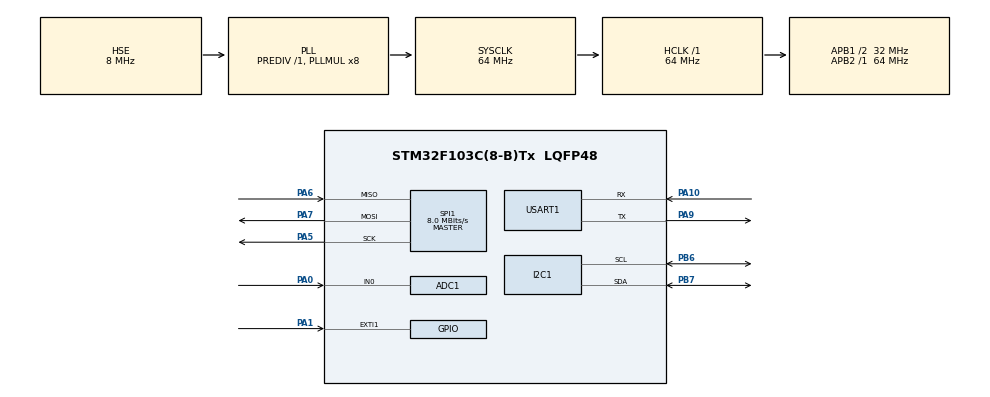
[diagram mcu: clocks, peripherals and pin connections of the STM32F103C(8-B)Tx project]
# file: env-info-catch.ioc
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ADC1.Channel-0\#ChannelRegularConversion=ADC_CHANNEL_0
ADC1.NbrOfConversionFlag=1
ADC1.Rank-0\#ChannelRegularConversion=1
ADC1.SamplingTime-0\#ChannelRegularConversion=ADC_SAMPLETIME_1CYCLE_5
ADC1.master=1
Mcu.Family=STM32F1
Mcu.Name=STM32F103C(8-B)Tx
Mcu.Package=LQFP48
NVIC.EXTI1_IRQn=true\:0\:0\:false\:false\:true\:true\:true\:true
NVIC.PriorityGroup=NVIC_PRIORITYGROUP_4
PA0-WKUP.Signal=ADCx_IN0
PA1.GPIO_ModeDefaultEXTI=GPIO_MODE_IT_FALLING
PA1.GPIO_PuPd=GPIO_PULLUP
PA1.Signal=GPXTI1
PA10.Mode=Asynchronous
PA10.Signal=USART1_RX
PA13.Mode=Serial_Wire
PA13.Signal=SYS_JTMS-SWDIO
PA14.Mode=Serial_Wire
PA14.Signal=SYS_JTCK-SWCLK
PA4.Signal=SPI1_NSS
PA5.Mode=Full_Duplex_Master
PA5.Signal=SPI1_SCK
PA6.Mode=Full_Duplex_Master
PA6.Signal=SPI1_MISO
PA7.Mode=Full_Duplex_Master
PA7.Signal=SPI1_MOSI
PA9.Mode=Asynchronous
PA9.Signal=USART1_TX
PB6.Mode=I2C
PB6.Signal=I2C1_SCL
PB7.Mode=I2C
PB7.Signal=I2C1_SDA
PC14-OSC32_IN.Mode=LSE-External-Oscillator
PC14-OSC32_IN.Signal=RCC_OSC32_IN
PC15-OSC32_OUT.Mode=LSE-External-Oscillator
PC15-OSC32_OUT.Signal=RCC_OSC32_OUT
PD0-OSC_IN.Mode=HSE-External-Oscillator
PD0-OSC_IN.Signal=RCC_OSC_IN
PD1-OSC_OUT.Mode=HSE-External-Oscillator
PD1-OSC_OUT.Signal=RCC_OSC_OUT
ProjectManager.HeapSize=0x200
ProjectManager.StackSize=0x400
ProjectManager.TargetToolchain=MDK-ARM V5.32
RCC.ADCPresc=RCC_ADCPCLK2_DIV6
RCC.AHBFreq_Value=64000000
RCC.APB1CLKDivider=RCC_HCLK_DIV2
RCC.APB1Freq_Value=32000000
RCC.APB1TimFreq_Value=64000000
RCC.APB2Freq_Value=64000000
RCC.APB2TimFreq_Value=64000000
RCC.HCLKFreq_Value=64000000
RCC.PLLMUL=RCC_PLL_MUL8
RCC.PLLSourceVirtual=RCC_PLLSOURCE_HSE
RCC.RTCClockSelection=RCC_RTCCLKSOURCE_LSE
RCC.SYSCLKFreq_VALUE=64000000
RCC.SYSCLKSource=RCC_SYSCLKSOURCE_PLLCLK
RCC.USBFreq_Value=64000000
RTC.Date=4
RTC.Hours=23
RTC.Minutes=28
RTC.Month=RTC_MONTH_AUGUST
RTC.WeekDay=RTC_WEEKDAY_TUESDAY
RTC.Year=26
SH.ADCx_IN0.0=ADC1_IN0,IN0
SPI1.BaudRatePrescaler=SPI_BAUDRATEPRESCALER_8
SPI1.CalculateBaudRate=8.0 MBits/s
SPI1.Direction=SPI_DIRECTION_2LINES
SPI1.Mode=SPI_MODE_MASTER
SPI1.VirtualType=VM_MASTER
USART1.VirtualMode=VM_ASYNC
VP_RTC_VS_RTC_Activate.Mode=RTC_Enabled
VP_RTC_VS_RTC_Calendar.Mode=RTC_Calendar
board=custom

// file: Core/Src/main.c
/* USER CODE BEGIN Header */
/**
  ******************************************************************************
  * @file           : main.c
  * @brief          : Main program body
  ******************************************************************************
  * @attention
  *
  * Copyright (c) 2026 STMicroelectronics.
  * All rights reserved.
  *
  * This software is licensed under terms that can be found in the LICENSE file
  * in the root directory of this software component.
  * If no LICENSE file comes with this software, it is provided AS-IS.
  *
  ******************************************************************************
  */
/* USER CODE END Header */
#include "main.h"
/* USER CODE BEGIN Includes */
#include "Hardware/MQ135.h"
#include "Hardware/AHT20.h"
#include "Hardware/BMP280.h"
#include "Hardware/W25QXX.h"
#include "Hardware/OLED.h"
/* USER CODE END Includes */
ADC_HandleTypeDef hadc1;
I2C_HandleTypeDef hi2c1;
RTC_HandleTypeDef hrtc;
SPI_HandleTypeDef hspi1;
UART_HandleTypeDef huart1;
/* USER CODE BEGIN PV */
volatile uint8_t calib_flag = 0;  /* button calib request, set in EXTI ISR */
static uint32_t last_collect_tick = 0;  /* 非阻塞采集间隔�?�时 */
typedef struct{
  uint32_t timestamp;
  float co2_ppm;
  float co_ppm;
  float nh4_ppm;
  float alcohol_ppm;
  float toluene_ppm;
  float acetone_ppm;
  uint8_t air_quality;
  float temperature_aht;
  float humidity;
  float pressure;
  uint16_t checksum;
}Data_t;
Data_t current_data = {0};
uint8_t pre_flag = 0;
/* Flash 存储管理：使用�?�扇�? */
#define MAX_FLASH_SECTORS   2047        /* 数据�? 2047 扇区，最�? 1 扇区留作管理�? */
#define RECORDS_PER_SECTOR  (W25QXX_SECTOR_SIZE / sizeof(Data_t))
#define MAX_TOTAL_RECORDS   (MAX_FLASH_SECTORS * RECORDS_PER_SECTOR)
/* 存储管理区：�?后一�?扇区�?尾固定地�?（存 current_sector/records_in_sector�? */
#define FLASH_MGMT_ADDR      (MAX_FLASH_SECTORS * W25QXX_SECTOR_SIZE)  /* 专用管理扇区 */
uint32_t write_index = 0;               /* 全局写入索引�?0 ~ MAX_TOTAL_RECORDS-1�? */
uint32_t current_sector = 0;            /* 当前扇区�? */
uint32_t records_in_sector = 0;         /* 当前扇区已写入�?�录�? */
/* USER CODE END PV */
void SystemClock_Config(void);
static void MX_GPIO_Init(void);
static void MX_ADC1_Init(void);
static void MX_I2C1_Init(void);
static void MX_SPI1_Init(void);
static void MX_USART1_UART_Init(void);
static void MX_RTC_Init(void);
/* USER CODE BEGIN PFP */
void save_storage_state(void);
void restore_storage_state(void);
/* USER CODE END PFP `*/
/* USER CODE BEGIN 0 */
#include <stdio.h>
#include <string.h>
uint8_t collect_data(){
  char msg[130];
  float pressure_hpa = 1013.25f, temp_bmp = 25.0f, alt_m = 0;

  sprintf(msg, "Start collect...\r\n");
  HAL_UART_Transmit(&huart1, (uint8_t*)msg, strlen(msg), 100);

  current_data.timestamp = HAL_GetTick();

  /* 先�?�取 AHT20 温湿�? */
  sprintf(msg, "Read AHT20...\r\n");
  HAL_UART_Transmit(&huart1, (uint8_t*)msg, strlen(msg), 100);
  if(AHT20_Read_Data(&hi2c1, &current_data.temperature_aht, &current_data.humidity) == 0){
    sprintf(msg, "AHT20 Read Failed!\r\n");
    HAL_UART_Transmit(&huart1, (uint8_t*)msg, strlen(msg), 100);
    current_data.temperature_aht = 25.0f;
    current_data.humidity = 50.0f;
  } else {
    sprintf(msg, "AHT20 Done! T=%.1f, H=%.1f\r\n", current_data.temperature_aht, current_data.humidity);
    HAL_UART_Transmit(&huart1, (uint8_t*)msg, strlen(msg), 100);
  }

  /* 再�?�取 BMP280 气压 */
  sprintf(msg, "Read BMP280...\r\n");
  HAL_UART_Transmit(&huart1, (uint8_t*)msg, strlen(msg), 100);
  if(BMP280_GetData(&hi2c1, &pressure_hpa, &temp_bmp, &alt_m) == 0){
    sprintf(msg, "BMP280 Read Failed!\r\n");
    HAL_UART_Transmit(&huart1, (uint8_t*)msg, strlen(msg), 100);
    current_data.pressure = 1013.25f;
  } else {
    current_data.pressure = pressure_hpa;
    sprintf(msg, "BMP280 Done! P=%.1f\r\n", pressure_hpa);
    HAL_UART_Transmit(&huart1, (uint8_t*)msg, strlen(msg), 100);
  }

  /* 用实际环境参数更�? MQ135 补偿 */
  MQ135_SetEnvironment(current_data.temperature_aht, current_data.humidity, current_data.pressure);
  sprintf(msg, "MQ135 Env Updated: T=%.1f, H=%.1f, P=%.1f\r\n",
          current_data.temperature_aht, current_data.humidity, current_data.pressure);
  HAL_UART_Transmit(&huart1, (uint8_t*)msg, strlen(msg), 100);

  /* �?后�?�取 MQ135 (此时已使用实际环境参数补�?) */
  MQ135_Data_t mq135_data;
  sprintf(msg, "Read MQ135...\r\n");
  HAL_UART_Transmit(&huart1, (uint8_t*)msg, strlen(msg), 100);
  MQ135_GetData(&mq135_data);

  /* 打印 MQ135 详细调试信息 */
  sprintf(msg, "MQ135 DBG: ADC=%d, V=%.3fV, Rs=%.2fk, Rs/R0=%.3f\r\n",
          mq135_data.adc_value,
          mq135_data.voltage,
          mq135_data.rs,
          mq135_data.rs_ratio);
  HAL_UART_Transmit(&huart1, (uint8_t*)msg, strlen(msg), 100);

  current_data.co2_ppm = mq135_data.co2_ppm;
  current_data.co_ppm = mq135_data.co_ppm;
  current_data.nh4_ppm = mq135_data.nh4_ppm;
  current_data.alcohol_ppm = mq135_data.alcohol_ppm;
  current_data.toluene_ppm = mq135_data.toluene_ppm;
  current_data.acetone_ppm = mq135_data.acetone_ppm;
  current_data.air_quality = mq135_data.air_quality;

  /* 读取 RTC 实时时间 */
  RTC_TimeTypeDef sTime;
  RTC_DateTypeDef sDate;
  HAL_RTC_GetTime(&hrtc, &sTime, RTC_FORMAT_BIN);
  HAL_RTC_GetDate(&hrtc, &sDate, RTC_FORMAT_BIN);

  sprintf(msg, "RTC: 20%02d-%02d-%02d %02d:%02d:%02d\r\n",
          sDate.Year, sDate.Month, sDate.Date,
          sTime.Hours, sTime.Minutes, sTime.Seconds);
  HAL_UART_Transmit(&huart1, (uint8_t*)msg, strlen(msg), 100);

  /* 时间合理性�??�?: RTC �?初�?�化�? LSI 掉电复位�?, 用开机�?�数兜底 */
  if(sDate.Date == 0 || sDate.Month == 0 || (sTime.Hours > 23) || (sTime.Minutes > 59) || (sTime.Seconds > 59)){
    uint32_t boot_sec = HAL_GetTick() / 1000;
    sDate.Year = 0; sDate.Month = 1; sDate.Date = 1;
    sTime.Hours = (boot_sec / 3600) % 24;
    sTime.Minutes = (boot_sec / 60) % 60;
    sTime.Seconds = boot_sec % 60;
  }
  /* 打包时间戳：�?(6bit)+�?(4bit)+�?(5bit)+�?(5bit)+�?(6bit)+�?(6bit) = 32bit */
  current_data.timestamp = (uint32_t)(sDate.Year & 0x3F) << 26 | (uint32_t)(sDate.Month & 0x0F) << 22 |
                           (uint32_t)(sDate.Date & 0x1F) << 17 | (uint32_t)(sTime.Hours & 0x1F) << 12 |
                           (uint32_t)(sTime.Minutes & 0x3F) << 6 | (uint32_t)(sTime.Seconds & 0x3F);

  current_data.checksum = 0;
  sprintf(msg, "Collect Done! CO2=%.1f, CO=%.1f, NH4=%.1f, ALC=%.1f, TOL=%.1f, ACE=%.1f\r\n",
          current_data.co2_ppm, current_data.co_ppm, current_data.nh4_ppm,
          current_data.alcohol_ppm, current_data.toluene_ppm, current_data.acetone_ppm);
  HAL_UART_Transmit(&huart1, (uint8_t*)msg, strlen(msg), 100);
  return 1;
}
void save_data_flash(void){
  uint8_t *write_data = (uint8_t*)&current_data;
  uint32_t data_add = current_sector * W25QXX_SECTOR_SIZE + records_in_sector * sizeof(current_data);

  /* �?查当前扇区是否满�? */
  if(records_in_sector >= RECORDS_PER_SECTOR){
    current_sector++;
    records_in_sector = 0;

    /* �?查是否超出最大扇区数 */
    if(current_sector >= MAX_FLASH_SECTORS){
      char msg[] = "Flash Full! Restarting...\r\n";
      HAL_UART_Transmit(&huart1, (uint8_t*)msg, sizeof(msg)-1, 100);
      current_sector = 0;
    }

    /* 擦除新扇�? */
    W25QXX_SectorErase(current_sector * W25QXX_SECTOR_SIZE);
    data_add = current_sector * W25QXX_SECTOR_SIZE;

    /* 扇区切换时持久化存储状�?�（�?电恢复用�? */
    save_storage_state();
  }

  W25QXX_Write(data_add, write_data, sizeof(current_data));
  records_in_sector++;
  write_index++;
}
void read_history_flash(uint32_t record_num){
  Data_t temp_data;

  /* 计算记录�?在的扇区和扇区内索引 */
  uint32_t sector = record_num / RECORDS_PER_SECTOR;
  uint32_t index_in_sector = record_num % RECORDS_PER_SECTOR;

  /* 计算物理地址 */
  uint32_t addr = sector * W25QXX_SECTOR_SIZE + index_in_sector * sizeof(current_data);

  W25QXX_Read(addr, (uint8_t*)&temp_data, sizeof(current_data));

  char msg[200];
  uint32_t ts = temp_data.timestamp;
  uint8_t year = (ts >> 26) & 0x3F;
  uint8_t month = (ts >> 22) & 0x0F;
  uint8_t date = (ts >> 17) & 0x1F;
  uint8_t hours = (ts >> 12) & 0x1F;
  uint8_t minutes = (ts >> 6) & 0x3F;
  uint8_t seconds = ts & 0x3F;

  sprintf(msg, "[%lu] 20%02d-%02d-%02d %02d:%02d:%02d | CO2=%.1f CO=%.1f NH4=%.1f ALC=%.1f TOL=%.1f ACE=%.1f | T=%.1f H=%.1f P=%.1f\r\n",
           (unsigned long)record_num, year, month, date, hours, minutes, seconds,
           temp_data.co2_ppm,
           temp_data.co_ppm,
           temp_data.nh4_ppm,
           temp_data.alcohol_ppm,
           temp_data.toluene_ppm,
           temp_data.acetone_ppm,
           temp_data.temperature_aht,
           temp_data.humidity,
           temp_data.pressure);
  HAL_UART_Transmit(&huart1, (uint8_t*)msg, strlen(msg), 100);
}
/* 读取�?�? N 条�?�录 */
void read_last_records(uint32_t num){
  char msg[50];

  if(num > write_index){
    num = write_index;
  }

  sprintf(msg, "=== 读取�?�? %lu 条�?�录 ===\r\n", (unsigned long)num);
  HAL_UART_Transmit(&huart1, (uint8_t*)msg, strlen(msg), 100);

  /* 从最新的数据�?前�?? */
  uint32_t start = (write_index >= num) ? (write_index - num) : 0;
  for(uint32_t i = start; i < write_index; i++){
    read_history_flash(i);
  }

  sprintf(msg, "=== 读取完成 ===\r\n");
  HAL_UART_Transmit(&huart1, (uint8_t*)msg, strlen(msg), 100);
}
/* 读取全部记录（谨慎使�?，数�?量大�? */
void read_all_records(void){
  char msg[50];
  sprintf(msg, "=== 读取全部 %lu 条�?�录 ===\r\n", (unsigned long)write_index);
  HAL_UART_Transmit(&huart1, (uint8_t*)msg, strlen(msg), 100);

  for(uint32_t i = 0; i < write_index; i++){
    read_history_flash(i);
  }

  sprintf(msg, "=== 读取完成 ===\r\n");
  HAL_UART_Transmit(&huart1, (uint8_t*)msg, strlen(msg), 100);
}
/* 保存存储状�?�到 Flash 管理区（扇区切换时调�?�? */
void save_storage_state(void){
    uint8_t buf[8];
    buf[0] = (uint8_t)(current_sector & 0xFF);
    buf[1] = (uint8_t)((current_sector >> 8) & 0xFF);
    buf[2] = (uint8_t)(records_in_sector & 0xFF);
    buf[3] = 0x5A;  /* 魔数，校验有效�?? */
    buf[4] = 0xA5;
    buf[5] = 0x00; buf[6] = 0x00; buf[7] = 0x00;
    W25QXX_SectorErase(FLASH_MGMT_ADDR);
    W25QXX_Write(FLASH_MGMT_ADDR, buf, 8);
}
/* 上电恢�?�存储状�? */
void restore_storage_state(void){
    uint8_t buf[8] = {0};
    W25QXX_Read(FLASH_MGMT_ADDR, buf, 8);
    if(buf[3] == 0x5A && buf[4] == 0xA5){
        current_sector = buf[0] | (buf[1] << 8);
        records_in_sector = buf[2];
        write_index = current_sector * RECORDS_PER_SECTOR + records_in_sector;
    }
    /* 无有效魔�? �? 保持 0，从头开�? */
}
/* USER CODE END 0 */
int main(void)
{
  /* MCU Configuration--------------------------------------------------------*/
  /* Reset of all peripherals, Initializes the Flash interface and the Systick. */
  HAL_Init();
  /* Configure the system clock */
  SystemClock_Config();
  /* Initialize all configured peripherals */
  MX_GPIO_Init();
  MX_ADC1_Init();
  MX_I2C1_Init();
  MX_SPI1_Init();
  MX_USART1_UART_Init();
  MX_RTC_Init();
  /* USER CODE BEGIN 2 */
  {
    /* ��оƬ Flash �����Ĵ��� (0x1FFFF7E0, ��λ KB) */
    uint16_t fsz = *(volatile uint16_t*)0x1FFFF7E0;
    char m[32];
    sprintf(m, "FLASH SIZE=%u KB\r\n", (unsigned)fsz);
    HAL_UART_Transmit(&huart1, (uint8_t*)m, strlen(m), 100);
    HAL_Delay(100);
  }
  char msg[50];
  sprintf(msg, "Init MQ135...\r\n");
  HAL_UART_Transmit(&huart1, (uint8_t*)msg, strlen(msg), 100);
  MQ135_Init(&hadc1);

  sprintf(msg, "Init AHT20...\r\n");
  HAL_UART_Transmit(&huart1, (uint8_t*)msg, strlen(msg), 100);
  if(AHT20_Init(&hi2c1)){
    sprintf(msg, "AHT20 Init OK!\r\n");
  } else {
    sprintf(msg, "AHT20 Init FAILED!\r\n");
  }
  HAL_UART_Transmit(&huart1, (uint8_t*)msg, strlen(msg), 100);

  sprintf(msg, "Init BMP280...\r\n");
  HAL_UART_Transmit(&huart1, (uint8_t*)msg, strlen(msg), 100);
  BMP280_Init(&hi2c1);

  sprintf(msg, "Init W25QXX...\r\n");
  HAL_UART_Transmit(&huart1, (uint8_t*)msg, strlen(msg), 100);
  uint8_t flash_ok = W25QXX_Init();
  uint16_t flash_id = W25QXX_ReadID();

  if(flash_ok == W25QXX_OK){
    sprintf(msg, "W25QXX OK! ID=0x%04X\r\n", flash_id);
    switch(flash_id){
      case 0xEF13: sprintf(msg, "W25Q80 (1MB)\r\n"); break;
      case 0xEF14: sprintf(msg, "W25Q16 (2MB)\r\n"); break;
      case 0xEF15: sprintf(msg, "W25Q32 (4MB)\r\n"); break;
      case 0xEF16: sprintf(msg, "W25Q64 (8MB)\r\n"); break;
      case 0xEF17: sprintf(msg, "W25Q128 (16MB)\r\n"); break;
      default: sprintf(msg, "Unknown Flash (0x%04X)\r\n", flash_id); break;
    }
  } else {
    sprintf(msg, "W25QXX FAILED! ID=0x%04X\r\n", flash_id);
  }
  HAL_UART_Transmit(&huart1, (uint8_t*)msg, strlen(msg), 100);

  sprintf(msg, "Init OLED...\r\n");
  HAL_UART_Transmit(&huart1, (uint8_t*)msg, strlen(msg), 100);
  OLED_Init(&hi2c1);

  /* 恢�?�上次存储位�?（断电续传） */
  restore_storage_state();
  pre_flag = 1;
  sprintf(msg, "All Init Done!\r\n");
  HAL_UART_Transmit(&huart1, (uint8_t*)msg, strlen(msg), 100);
  /* USER CODE END 2 */
  /* Infinite loop */
  /* USER CODE BEGIN WHILE */
  while (1)
  {
    /* 始终�?查校准按�?标志 */
    if(calib_flag)
    {
      calib_flag = 0;
      OLED_DisplayOn();
      OLED_Clear(&hi2c1);
      OLED_ShowString(&hi2c1, 0, 0, "Calibrating...");
      OLED_Refresh(&hi2c1);
      MQ135_CalibrateRZero();
      OLED_Clear(&hi2c1);
      OLED_ShowString(&hi2c1, 0, 0, "Calib Done!");
      OLED_Refresh(&hi2c1);
      HAL_Delay(1000);
      {
        char cm[48];
        sprintf(cm, "Button Calib Done! R0=%.1f kOhm\r\n", MQ135_GetRZero());
        HAL_UART_Transmit(&huart1, (uint8_t*)cm, strlen(cm), 100);
      }
      OLED_DisplayOff();
    }
    /* 30 秒采集间隔（非阻塞，首�?�立即采集） */
    if (HAL_GetTick() - last_collect_tick >= 30000 || last_collect_tick == 0)
    {
      collect_data();
      save_data_flash();

      /* OLED �?�?显示：�??1�?-气体数据，�??2�?-�?境数�?+时间 */
      static uint8_t page = 0;
      OLED_DisplayOn();       /* 采集时点�? */
      OLED_Clear(&hi2c1);

      /* 读取当前 RTC 时间用于显示 */
      RTC_TimeTypeDef dispTime;
      RTC_DateTypeDef dispDate;
      HAL_RTC_GetTime(&hrtc, &dispTime, RTC_FORMAT_BIN);
      HAL_RTC_GetDate(&hrtc, &dispDate, RTC_FORMAT_BIN);

      if(page == 0){
        /* �?1页：气体数据 + 时间 */
        char timeStr[20];
        sprintf(timeStr, "%02d:%02d:%02d", dispTime.Hours, dispTime.Minutes, dispTime.Seconds);
        OLED_ShowString(&hi2c1, 64, 0, timeStr);

        OLED_ShowString(&hi2c1, 0, 8, "CO2:");
        OLED_ShowFloat(&hi2c1, 32, 8, current_data.co2_ppm, 1);

        OLED_ShowString(&hi2c1, 0, 16, "CO:");
        OLED_ShowFloat(&hi2c1, 32, 16, current_data.co_ppm, 1);

        OLED_ShowString(&hi2c1, 0, 24, "NH4:");
        OLED_ShowFloat(&hi2c1, 32, 24, current_data.nh4_ppm, 1);

        OLED_ShowString(&hi2c1, 0, 32, "ALC:");
        OLED_ShowFloat(&hi2c1, 32, 32, current_data.alcohol_ppm, 1);

        OLED_ShowString(&hi2c1, 0, 40, "TOL:");
        OLED_ShowFloat(&hi2c1, 32, 40, current_data.toluene_ppm, 1);

        OLED_ShowString(&hi2c1, 0, 48, "ACE:");
        OLED_ShowFloat(&hi2c1, 32, 48, current_data.acetone_ppm, 1);
      } else {
        /* �?2页：�?境数�? + 日期 */
        char dateStr[20];
        sprintf(dateStr, "20%02d-%02d-%02d", dispDate.Year, dispDate.Month, dispDate.Date);
        OLED_ShowString(&hi2c1, 32, 0, dateStr);

        OLED_ShowString(&hi2c1, 0, 8, "T:");
        OLED_ShowFloat(&hi2c1, 24, 8, current_data.temperature_aht, 1);
        OLED_ShowString(&hi2c1, 80, 8, "C");

        OLED_ShowString(&hi2c1, 0, 16, "H:");
        OLED_ShowFloat(&hi2c1, 24, 16, current_data.humidity, 1);
        OLED_ShowString(&hi2c1, 80, 16, "%");

        OLED_ShowString(&hi2c1, 0, 24, "P:");
        OLED_ShowFloat(&hi2c1, 24, 24, current_data.pressure, 1);
        OLED_ShowString(&hi2c1, 80, 24, "hPa");

        OLED_ShowString(&hi2c1, 0, 32, "AQ:");
        OLED_ShowInt(&hi2c1, 32, 32, current_data.air_quality);
      }

      OLED_Refresh(&hi2c1);
      HAL_Delay(2000);        /* �?�? 2 秒，让用户看�? */
      OLED_DisplayOff();      /* 显示后关屏省�? */
      page = (page + 1) % 2;  /* 切换页面 */

      last_collect_tick = HAL_GetTick();
    }
    /* USER CODE END WHILE */
    /* USER CODE BEGIN 3 */
    uint8_t num = 0;
    if(HAL_UART_Receive(&huart1, &num, 1, 100) == HAL_OK){
      switch(num){
        case '1': {
          char msg1[] = "正在校准 MQ135...\r\n";
          HAL_UART_Transmit(&huart1, (uint8_t*)msg1, sizeof(msg1)-1, 100);
          MQ135_CalibrateRZero();
          char msg2[] = "校准完成！\r\n";
          HAL_UART_Transmit(&huart1, (uint8_t*)msg2, sizeof(msg2)-1, 100);
          break;
        }
        case '2': {
          char msg[] = "读取�?�? 10 条�?�录\r\n";
          HAL_UART_Transmit(&huart1, (uint8_t*)msg, sizeof(msg)-1, 100);
          read_last_records(10);
          break;
        }
        case '3': {
          char msg[] = "Dump ALL records (large!)\r\n";
          HAL_UART_Transmit(&huart1, (uint8_t*)msg, sizeof(msg)-1, 100);
          read_all_records();
          break;
        }
        case '4': {
          /* 清除近期数据: 擦除当前数据扇区, 回�??到扇区开�? */
          char msg[] = "Erase recent sector...";
          HAL_UART_Transmit(&huart1, (uint8_t*)msg, sizeof(msg)-1, 100);
          W25QXX_SectorErase(current_sector * W25QXX_SECTOR_SIZE);
          records_in_sector = 0;
          write_index = current_sector * RECORDS_PER_SECTOR;
          save_storage_state();
          char msg2[] = "Recent sector cleared.";
          HAL_UART_Transmit(&huart1, (uint8_t*)msg2, sizeof(msg2)-1, 100);
          break;
        }
        case '5': {
          /* 清除�?有数�?: 整片擦除 + 重置索引 */
          char msg[] = "Erase ALL flash...";
          HAL_UART_Transmit(&huart1, (uint8_t*)msg, sizeof(msg)-1, 100);
          W25QXX_ChipErase();
          write_index = 0;
          current_sector = 0;
          records_in_sector = 0;
          save_storage_state();
          char msg2[] = "All data cleared.";
          HAL_UART_Transmit(&huart1, (uint8_t*)msg2, sizeof(msg2)-1, 100);
          break;
        }
        default: {
          char msg[] = "CMD: 1=cal 2=last10 3=dumpall 4=erase_recent 5=erase_all";
          HAL_UART_Transmit(&huart1, (uint8_t*)msg, sizeof(msg)-1, 100);
          break;
        }
      }
    }
    HAL_Delay(100);  /* �? 100ms �?�?�?次，及时响应按钮 */
  }
  /* USER CODE END 3 */
}
void SystemClock_Config(void)
{
  RCC_OscInitTypeDef RCC_OscInitStruct = {0};
  RCC_ClkInitTypeDef RCC_ClkInitStruct = {0};
  RCC_PeriphCLKInitTypeDef PeriphClkInit = {0};
  /** Initializes the RCC Oscillators according to the specified parameters
  * in the RCC_OscInitTypeDef structure.
  */
  RCC_OscInitStruct.OscillatorType = RCC_OSCILLATORTYPE_HSE|RCC_OSCILLATORTYPE_LSE;
  RCC_OscInitStruct.HSEState = RCC_HSE_ON;
  RCC_OscInitStruct.HSEPredivValue = RCC_HSE_PREDIV_DIV1;
  RCC_OscInitStruct.LSEState = RCC_LSE_ON;
  RCC_OscInitStruct.HSIState = RCC_HSI_ON;
  RCC_OscInitStruct.PLL.PLLState = RCC_PLL_ON;
  RCC_OscInitStruct.PLL.PLLSource = RCC_PLLSOURCE_HSE;
  RCC_OscInitStruct.PLL.PLLMUL = RCC_PLL_MUL8;
  if (HAL_RCC_OscConfig(&RCC_OscInitStruct) != HAL_OK)
  {
    Error_Handler();
  }
  /** Initializes the CPU, AHB and APB buses clocks
  */
  RCC_ClkInitStruct.ClockType = RCC_CLOCKTYPE_HCLK|RCC_CLOCKTYPE_SYSCLK
                              |RCC_CLOCKTYPE_PCLK1|RCC_CLOCKTYPE_PCLK2;
  RCC_ClkInitStruct.SYSCLKSource = RCC_SYSCLKSOURCE_PLLCLK;
  RCC_ClkInitStruct.AHBCLKDivider = RCC_SYSCLK_DIV1;
  RCC_ClkInitStruct.APB1CLKDivider = RCC_HCLK_DIV2;
  RCC_ClkInitStruct.APB2CLKDivider = RCC_HCLK_DIV1;
  if (HAL_RCC_ClockConfig(&RCC_ClkInitStruct, FLASH_LATENCY_2) != HAL_OK)
  {
    Error_Handler();
  }
  PeriphClkInit.PeriphClockSelection = RCC_PERIPHCLK_RTC|RCC_PERIPHCLK_ADC;
  PeriphClkInit.RTCClockSelection = RCC_RTCCLKSOURCE_LSE;
  PeriphClkInit.AdcClockSelection = RCC_ADCPCLK2_DIV6;
  if (HAL_RCCEx_PeriphCLKConfig(&PeriphClkInit) != HAL_OK)
  {
    Error_Handler();
  }
}
static void MX_ADC1_Init(void)
{
  ADC_ChannelConfTypeDef sConfig = {0};
  /** Common config
  */
  hadc1.Instance = ADC1;
  hadc1.Init.ScanConvMode = ADC_SCAN_DISABLE;
  hadc1.Init.ContinuousConvMode = DISABLE;
  hadc1.Init.DiscontinuousConvMode = DISABLE;
  hadc1.Init.ExternalTrigConv = ADC_SOFTWARE_START;
  hadc1.Init.DataAlign = ADC_DATAALIGN_RIGHT;
  hadc1.Init.NbrOfConversion = 1;
  if (HAL_ADC_Init(&hadc1) != HAL_OK)
  {
    Error_Handler();
  }
  /** Configure Regular Channel
  */
  sConfig.Channel = ADC_CHANNEL_0;
  sConfig.Rank = ADC_REGULAR_RANK_1;
  sConfig.SamplingTime = ADC_SAMPLETIME_1CYCLE_5;
  if (HAL_ADC_ConfigChannel(&hadc1, &sConfig) != HAL_OK)
  {
    Error_Handler();
  }
}
static void MX_I2C1_Init(void)
{
  hi2c1.Instance = I2C1;
  hi2c1.Init.ClockSpeed = 100000;
  hi2c1.Init.DutyCycle = I2C_DUTYCYCLE_2;
  hi2c1.Init.OwnAddress1 = 0;
  hi2c1.Init.AddressingMode = I2C_ADDRESSINGMODE_7BIT;
  hi2c1.Init.DualAddressMode = I2C_DUALADDRESS_DISABLE;
  hi2c1.Init.OwnAddress2 = 0;
  hi2c1.Init.GeneralCallMode = I2C_GENERALCALL_DISABLE;
  hi2c1.Init.NoStretchMode = I2C_NOSTRETCH_DISABLE;
  if (HAL_I2C_Init(&hi2c1) != HAL_OK)
  {
    Error_Handler();
  }
}
static void MX_RTC_Init(void)
{
  RTC_TimeTypeDef sTime = {0};
  RTC_DateTypeDef DateToUpdate = {0};
  /** Initialize RTC Only
  */
  hrtc.Instance = RTC;
  hrtc.Init.AsynchPrediv = RTC_AUTO_1_SECOND;
  hrtc.Init.OutPut = RTC_OUTPUTSOURCE_ALARM;
  if (HAL_RTC_Init(&hrtc) != HAL_OK)
  {
    Error_Handler();
  }
  /* USER CODE BEGIN Check_RTC_BKUP */
  /* 使能备份域�?�问（STM32F1 必须�? */
  HAL_PWR_EnableBkUpAccess();

  /* �?查是否已经初始化�? RTC（�?�过备份寄存�? BKP_DR1 标�?? + 时间合理性） */
  RTC_DateTypeDef chkDate;
  uint32_t bkup = HAL_RTCEx_BKUPRead(&hrtc, RTC_BKP_DR1);
  HAL_RTC_GetDate(&hrtc, &chkDate, RTC_FORMAT_BIN);
  if(bkup != 0x32F2 || chkDate.Date == 0 || chkDate.Year < 20){
    /* �?�?次启�?，�?�置初�?�时�? */
    sTime.Hours = 0x23;
    sTime.Minutes = 0x28;
    sTime.Seconds = 0x0;
    if (HAL_RTC_SetTime(&hrtc, &sTime, RTC_FORMAT_BCD) != HAL_OK)
    {
      Error_Handler();
    }
    DateToUpdate.WeekDay = RTC_WEEKDAY_MONDAY;
    DateToUpdate.Month = RTC_MONTH_AUGUST;
    DateToUpdate.Date = 0x3;
    DateToUpdate.Year = 0x26;
    if (HAL_RTC_SetDate(&hrtc, &DateToUpdate, RTC_FORMAT_BCD) != HAL_OK)
    {
      Error_Handler();
    }
    /* 写入标�?�，下�?�启动不再重新�?�置时间 */
    HAL_RTCEx_BKUPWrite(&hrtc, RTC_BKP_DR1, 0x32F2);
  }
  /* USER CODE END Check_RTC_BKUP */
}
static void MX_SPI1_Init(void)
{
  /* SPI1 parameter configuration*/
  hspi1.Instance = SPI1;
  hspi1.Init.Mode = SPI_MODE_MASTER;
  hspi1.Init.Direction = SPI_DIRECTION_2LINES;
  hspi1.Init.DataSize = SPI_DATASIZE_8BIT;
  hspi1.Init.CLKPolarity = SPI_POLARITY_LOW;
  hspi1.Init.CLKPhase = SPI_PHASE_1EDGE;
  hspi1.Init.NSS = SPI_NSS_SOFT;
  hspi1.Init.BaudRatePrescaler = SPI_BAUDRATEPRESCALER_8;
  hspi1.Init.FirstBit = SPI_FIRSTBIT_MSB;
  hspi1.Init.TIMode = SPI_TIMODE_DISABLE;
  hspi1.Init.CRCCalculation = SPI_CRCCALCULATION_DISABLE;
  hspi1.Init.CRCPolynomial = 10;
  if (HAL_SPI_Init(&hspi1) != HAL_OK)
  {
    Error_Handler();
  }
}
static void MX_USART1_UART_Init(void)
{
  huart1.Instance = USART1;
  huart1.Init.BaudRate = 115200;
  huart1.Init.WordLength = UART_WORDLENGTH_8B;
  huart1.Init.StopBits = UART_STOPBITS_1;
  huart1.Init.Parity = UART_PARITY_NONE;
  huart1.Init.Mode = UART_MODE_TX_RX;
  huart1.Init.HwFlowCtl = UART_HWCONTROL_NONE;
  huart1.Init.OverSampling = UART_OVERSAMPLING_16;
  if (HAL_UART_Init(&huart1) != HAL_OK)
  {
    Error_Handler();
  }
}
static void MX_GPIO_Init(void)
{
  GPIO_InitTypeDef GPIO_InitStruct = {0};
  /* GPIO Ports Clock Enable */
  __HAL_RCC_GPIOC_CLK_ENABLE();
  __HAL_RCC_GPIOD_CLK_ENABLE();
  __HAL_RCC_GPIOA_CLK_ENABLE();
  __HAL_RCC_GPIOB_CLK_ENABLE();
  /*Configure GPIO pin : PA1 */
  GPIO_InitStruct.Pin = GPIO_PIN_1;
  GPIO_InitStruct.Mode = GPIO_MODE_IT_FALLING;
  GPIO_InitStruct.Pull = GPIO_PULLUP;
  HAL_GPIO_Init(GPIOA, &GPIO_InitStruct);
  /* EXTI interrupt init*/
  HAL_NVIC_SetPriority(EXTI1_IRQn, 0, 0);
  HAL_NVIC_EnableIRQ(EXTI1_IRQn);
}
void Error_Handler(void)
{
  __disable_irq();
  while (1)
  {
  }
}
/* EXTI button callback: set flag, main loop does the work */
void HAL_GPIO_EXTI_Callback(uint16_t GPIO_Pin)
{
  if(GPIO_Pin == GPIO_PIN_1)
  {
    calib_flag = 1;  /* �?设标志位，不做其他操�? */
  }
}
